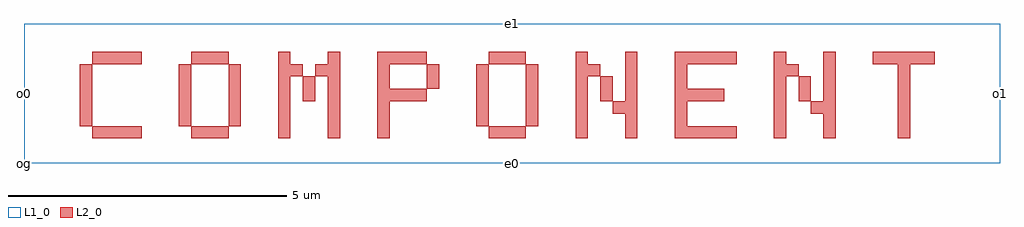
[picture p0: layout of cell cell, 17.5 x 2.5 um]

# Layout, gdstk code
import gdstk
lib = gdstk.Library(unit=1e-6, precision=1e-09)
def R(c, l, rs):  # rectangles x0, y0, x1, y1
    for r in rs: c.add(gdstk.rectangle(r[:2], r[2:], *l))
def P(c, l, *ps):  # polygons
    for p in ps: c.add(gdstk.Polygon(p, *l))
L1_0 = (1, 0)
L2_0 = (2, 0)

cell = lib.new_cell('cell')
R(cell, L1_0, [(0,0,17.5,2.5)])
P(cell, L2_0, [(1,0.667),(1.222,0.667),(1.222,0.889),(1.222,1.111),(1.222,1.333),(1.222,1.556),(1.222,1.778),(1,1.778),(1,1.556),(1,1.333),(1,1.111),(1,0.889)],
  [(1.222,0.444),(1.444,0.444),(1.667,0.444),(1.889,0.444),(2.111,0.444),(2.111,0.667),(1.889,0.667),(1.667,0.667),(1.444,0.667),(1.222,0.667)],
  [(1.222,1.778),(1.444,1.778),(1.667,1.778),(1.889,1.778),(2.111,1.778),(2.111,2),(1.889,2),(1.667,2),(1.444,2),(1.222,2)],
  [(2.778,0.667),(3,0.667),(3,0.889),(3,1.111),(3,1.333),(3,1.556),(3,1.778),(2.778,1.778),(2.778,1.556),(2.778,1.333),(2.778,1.111),(2.778,0.889)],
  [(3,0.444),(3.222,0.444),(3.444,0.444),(3.667,0.444),(3.667,0.667),(3.444,0.667),(3.222,0.667),(3,0.667)],
  [(3,1.778),(3.222,1.778),(3.444,1.778),(3.667,1.778),(3.667,2),(3.444,2),(3.222,2),(3,2)],
  [(3.667,0.667),(3.889,0.667),(3.889,0.889),(3.889,1.111),(3.889,1.333),(3.889,1.556),(3.889,1.778),(3.667,1.778),(3.667,1.556),(3.667,1.333),(3.667,1.111),(3.667,0.889)],
  [(4.556,0.444),(4.778,0.444),(4.778,0.667),(4.778,0.889),(4.778,1.111),(4.778,1.333),(4.778,1.556),(5,1.556),(5,1.778),(4.778,1.778),(4.778,2),(4.556,2),(4.556,1.778),(4.556,1.556),(4.556,1.333),(4.556,1.111),(4.556,0.889),(4.556,0.667)],
  [(5,1.111),(5.222,1.111),(5.222,1.333),(5.222,1.556),(5,1.556),(5,1.333)],
  [(5.222,1.556),(5.444,1.556),(5.444,1.333),(5.444,1.111),(5.444,0.889),(5.444,0.667),(5.444,0.444),(5.667,0.444),(5.667,0.667),(5.667,0.889),(5.667,1.111),(5.667,1.333),(5.667,1.556),(5.667,1.778),(5.667,2),(5.444,2),(5.444,1.778),(5.222,1.778)],
  [(6.333,0.444),(6.556,0.444),(6.556,0.667),(6.556,0.889),(6.556,1.111),(6.778,1.111),(7,1.111),(7.222,1.111),(7.222,1.333),(7,1.333),(6.778,1.333),(6.556,1.333),(6.556,1.556),(6.556,1.778),(6.778,1.778),(7,1.778),(7.222,1.778),(7.222,2),(7,2),(6.778,2),(6.556,2),(6.333,2),(6.333,1.778),(6.333,1.556),(6.333,1.333),(6.333,1.111),(6.333,0.889),(6.333,0.667)],
  [(7.222,1.333),(7.444,1.333),(7.444,1.556),(7.444,1.778),(7.222,1.778),(7.222,1.556)],
  [(8.111,0.667),(8.333,0.667),(8.333,0.889),(8.333,1.111),(8.333,1.333),(8.333,1.556),(8.333,1.778),(8.111,1.778),(8.111,1.556),(8.111,1.333),(8.111,1.111),(8.111,0.889)],
  [(8.333,0.444),(8.556,0.444),(8.778,0.444),(9,0.444),(9,0.667),(8.778,0.667),(8.556,0.667),(8.333,0.667)],
  [(8.333,1.778),(8.556,1.778),(8.778,1.778),(9,1.778),(9,2),(8.778,2),(8.556,2),(8.333,2)],
  [(9,0.667),(9.222,0.667),(9.222,0.889),(9.222,1.111),(9.222,1.333),(9.222,1.556),(9.222,1.778),(9,1.778),(9,1.556),(9,1.333),(9,1.111),(9,0.889)],
  [(9.889,0.444),(10.111,0.444),(10.111,0.667),(10.111,0.889),(10.111,1.111),(10.111,1.333),(10.111,1.556),(10.333,1.556),(10.333,1.778),(10.111,1.778),(10.111,2),(9.889,2),(9.889,1.778),(9.889,1.556),(9.889,1.333),(9.889,1.111),(9.889,0.889),(9.889,0.667)],
  [(10.333,1.111),(10.556,1.111),(10.556,1.333),(10.556,1.556),(10.333,1.556),(10.333,1.333)],
  [(10.556,0.889),(10.778,0.889),(10.778,0.667),(10.778,0.444),(11,0.444),(11,0.667),(11,0.889),(11,1.111),(11,1.333),(11,1.556),(11,1.778),(11,2),(10.778,2),(10.778,1.778),(10.778,1.556),(10.778,1.333),(10.778,1.111),(10.556,1.111)],
  [(11.667,0.444),(11.889,0.444),(12.111,0.444),(12.333,0.444),(12.556,0.444),(12.778,0.444),(12.778,0.667),(12.556,0.667),(12.333,0.667),(12.111,0.667),(11.889,0.667),(11.889,0.889),(11.889,1.111),(12.111,1.111),(12.333,1.111),(12.556,1.111),(12.556,1.333),(12.333,1.333),(12.111,1.333),(11.889,1.333),(11.889,1.556),(11.889,1.778),(12.111,1.778),(12.333,1.778),(12.556,1.778),(12.778,1.778),(12.778,2),(12.556,2),(12.333,2),(12.111,2),(11.889,2),(11.667,2),(11.667,1.778),(11.667,1.556),(11.667,1.333),(11.667,1.111),(11.667,0.889),(11.667,0.667)],
  [(13.444,0.444),(13.667,0.444),(13.667,0.667),(13.667,0.889),(13.667,1.111),(13.667,1.333),(13.667,1.556),(13.889,1.556),(13.889,1.778),(13.667,1.778),(13.667,2),(13.444,2),(13.444,1.778),(13.444,1.556),(13.444,1.333),(13.444,1.111),(13.444,0.889),(13.444,0.667)],
  [(13.889,1.111),(14.111,1.111),(14.111,1.333),(14.111,1.556),(13.889,1.556),(13.889,1.333)],
  [(14.111,0.889),(14.333,0.889),(14.333,0.667),(14.333,0.444),(14.556,0.444),(14.556,0.667),(14.556,0.889),(14.556,1.111),(14.556,1.333),(14.556,1.556),(14.556,1.778),(14.556,2),(14.333,2),(14.333,1.778),(14.333,1.556),(14.333,1.333),(14.333,1.111),(14.111,1.111)],
  [(15.222,1.778),(15.444,1.778),(15.667,1.778),(15.667,1.556),(15.667,1.333),(15.667,1.111),(15.667,0.889),(15.667,0.667),(15.667,0.444),(15.889,0.444),(15.889,0.667),(15.889,0.889),(15.889,1.111),(15.889,1.333),(15.889,1.556),(15.889,1.778),(16.111,1.778),(16.333,1.778),(16.333,2),(16.111,2),(15.889,2),(15.667,2),(15.444,2),(15.222,2)])
cell.add(gdstk.Label('og', (0,0), layer=0, texttype=0))
cell.add(gdstk.Label('o0', (0,1.25), layer=0, texttype=0))
cell.add(gdstk.Label('o1', (17.5,1.25), layer=0, texttype=0))
cell.add(gdstk.Label('e0', (8.75,0), layer=0, texttype=0))
cell.add(gdstk.Label('e1', (8.75,2.5), layer=0, texttype=0))

lib.write_gds('cell.gds')
